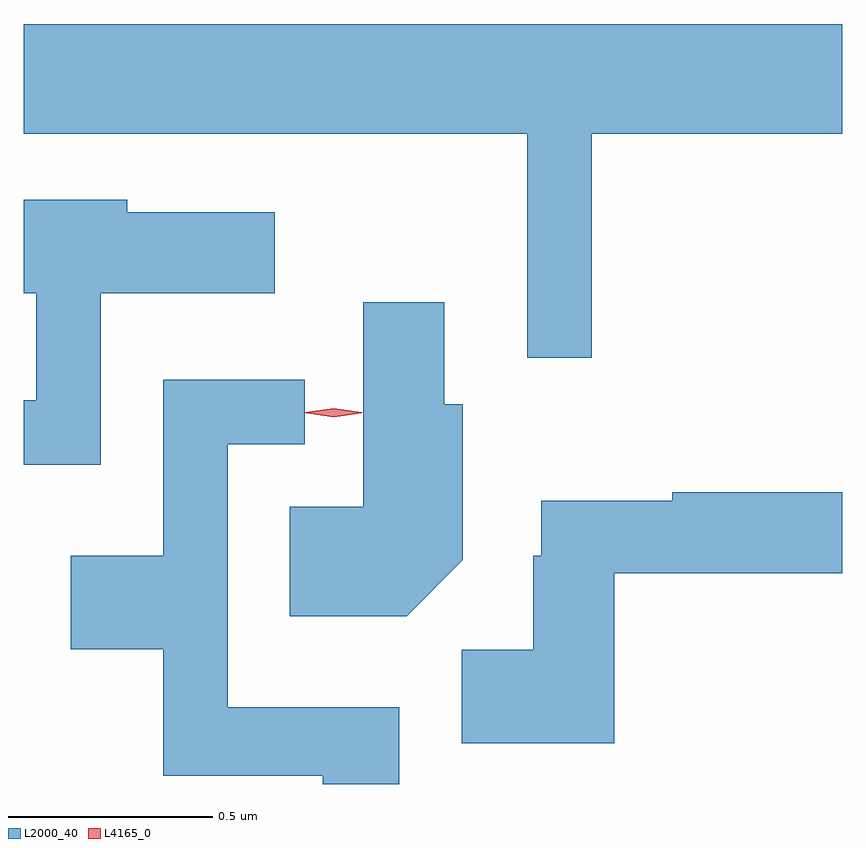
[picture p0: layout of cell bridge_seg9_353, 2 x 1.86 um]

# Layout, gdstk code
import gdstk
lib = gdstk.Library(unit=1e-6, precision=1e-09)
def P(c, l, *ps):  # polygons
    for p in ps: c.add(gdstk.Polygon(p, *l))
L2000_40 = (2000, 40)
L4165_0 = (4165, 0)

bridge_seg9_353 = lib.new_cell('bridge_seg9_353')
P(bridge_seg9_353, L2000_40, [(786.349,2056.196),(786.961,2056.196),(786.961,2056.464),(784.961,2056.464),(784.961,2056.196),(786.191,2056.196),(786.191,2055.648),(786.349,2055.648)],
  [(785.149,2055.806),(785.574,2055.806),(785.574,2056.004),(785.214,2056.004),(785.214,2056.034),(784.961,2056.034),(784.961,2055.806),(784.991,2055.806),(784.991,2055.544),(784.961,2055.544),(784.961,2055.386),(785.149,2055.386)],
  [(786.034,2055.154),(786.034,2055.534),(785.989,2055.534),(785.989,2055.784),(785.791,2055.784),(785.791,2055.284),(785.611,2055.284),(785.611,2055.016),(785.897,2055.016)],
  [(785.879,2054.794),(785.459,2054.794),(785.459,2055.436),(785.648,2055.436),(785.648,2055.594),(785.301,2055.594),(785.301,2055.164),(785.076,2055.164),(785.076,2054.936),(785.301,2054.936),(785.301,2054.626),(785.691,2054.626),(785.691,2054.606),(785.879,2054.606)],
  [(786.404,2055.121),(786.961,2055.121),(786.961,2055.319),(786.546,2055.319),(786.546,2055.299),(786.226,2055.299),(786.226,2055.164),(786.206,2055.164),(786.206,2054.934),(786.031,2054.934),(786.031,2054.706),(786.404,2054.706)])
P(bridge_seg9_353, L4165_0, [(785.718,2055.503),(785.652,2055.512),(785.652,2055.513),(785.652,2055.513),(785.718,2055.523),(785.785,2055.513),(785.785,2055.513),(785.785,2055.512)],
  [(785.718,2055.505),(785.649,2055.514),(785.648,2055.515),(785.649,2055.515),(785.718,2055.525),(785.787,2055.515),(785.787,2055.515),(785.787,2055.514)])

lib.write_gds('bridge_seg9_353.gds')
